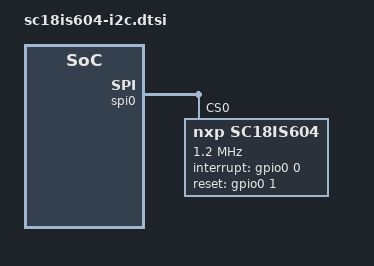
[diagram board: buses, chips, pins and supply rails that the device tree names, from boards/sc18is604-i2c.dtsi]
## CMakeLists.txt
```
# SPDX-FileCopyrightText: 2025-2026 TiaC Systems
# SPDX-License-Identifier: Apache-2.0

cmake_minimum_required(VERSION 3.28.0)
find_package(Zephyr REQUIRED HINTS $ENV{ZEPHYR_BASE})
project(test_sc18is604_i2c)

target_include_directories(app PRIVATE include)
target_sources(app
  PRIVATE
    src/main.c
)
```

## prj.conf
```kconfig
# SPDX-FileCopyrightText: 2024-2026 TiaC Systems
# SPDX-License-Identifier: Apache-2.0

CONFIG_ZTEST=y
```

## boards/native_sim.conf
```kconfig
# Copyright (c) 2024 TiaC Systems
# SPDX-License-Identifier: Apache-2.0

CONFIG_EMUL=y
CONFIG_SPI=y
CONFIG_MFD=y
CONFIG_GPIO=y
CONFIG_I2C=y
```

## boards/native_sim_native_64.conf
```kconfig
# SPDX-FileCopyrightText: 2024-2026 TiaC Systems
# SPDX-License-Identifier: Apache-2.0

# zephyr-keep-sorted-start
CONFIG_EMUL=y
CONFIG_GPIO=y
CONFIG_I2C=y
CONFIG_MFD=y
CONFIG_SPI=y
# zephyr-keep-sorted-stop
```

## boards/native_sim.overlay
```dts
/*
 * CSPDX-FileCopyrightText: opyright (c) 2025-2026 TiaC Systems
 * SPDX-License-Identifier: Apache-2.0
 */

#include "sc18is604-i2c.dtsi"
```

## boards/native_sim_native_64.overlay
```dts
/*
 * SPDX-FileCopyrightText: 2025-2026 TiaC Systems
 * SPDX-License-Identifier: Apache-2.0
 */

#include "sc18is604-i2c.dtsi"
```

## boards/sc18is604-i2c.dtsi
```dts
/*
 * SPDX-FileCopyrightText: 2025-2026 TiaC Systems
 * SPDX-License-Identifier: Apache-2.0
 */

#include <freq.h>
#include <zephyr/dt-bindings/i2c/i2c.h>

&spi0 {
	status = "okay";
	sc18is604: sc18is604@0 {
		compatible = "nxp,sc18is604";
		status = "okay";
		spi-max-frequency = <DT_FREQ_K(1200)>;
		reg = <0>;

		interrupt-gpios = <&gpio0 0 0>;
		reset-gpios = <&gpio0 1 0>;

		sc18is604_i2c: sc18is604-i2c {
			compatible = "nxp,sc18is604-i2c";
			status = "okay";

			#address-cells = <1>;
			#size-cells = <0>;

			clock-frequency = <I2C_BITRATE_STANDARD>;
		};

	};
};

&gpio0 {
	status = "okay";
	ngpios = <8>;
	rising-edge;
	falling-edge;
	high-level;
	low-level;
};
```

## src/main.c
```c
/*
 * SPDX-FileCopyrightText: 2025-2026 TiaC Systems
 * SPDX-License-Identifier: Apache-2.0
 */

#include <zephyr/ztest.h>
#include <zephyr/drivers/emul.h>
#include <zephyr/drivers/mfd/sc18is604_emul.h>

static const struct emul *get_sc18is604(void)
{
	const struct emul *sc18is604 = EMUL_DT_GET(DT_NODELABEL(sc18is604));

	zassert_true(device_is_ready(sc18is604->dev), "SC18IS604 device not ready");

	return sc18is604;
}

static const struct device *get_sc18is604_i2c(void)
{
	const struct device *sc18is604_i2c = DEVICE_DT_GET(DT_NODELABEL(sc18is604_i2c));

	zassert_true(device_is_ready(sc18is604_i2c), "SC18IS604 I2C device not ready");

	return sc18is604_i2c;
}

ZTEST_SUITE(sc18is604_i2c_emul, NULL, NULL, NULL, NULL, NULL);

ZTEST(sc18is604_i2c_emul, test_write)
{
	const struct device *i2c = get_sc18is604_i2c();
	const struct emul *mfd_emul = get_sc18is604();

	/* Set up a message */
	uint8_t buf[4] = {0x01, 0x02, 0x03, 0x04};

	/* Perform the write */
	zassert_ok(i2c_write(i2c, buf, sizeof(buf), 0x42), "Failed to write");

	/* Check the transmission */
	struct mfd_sc18is604_emul_transmission tx = {0};

	zassert_ok(mfd_sc18is604_emul_i2c_get_last_tx(mfd_emul, &tx),
		   "Failed to get last transmission");

	zassert_equal(tx.addr, 0x42, "Address mismatch");
	zassert_equal(tx.len, sizeof(buf), "Length mismatch");
	zassert_mem_equal(tx.msg, buf, sizeof(buf), "Message mismatch");
}

ZTEST(sc18is604_i2c_emul, test_read)
{
	const struct device *i2c = get_sc18is604_i2c();
	const struct emul *mfd_emul = get_sc18is604();

	/* Set up a message */
	uint8_t buf[4] = {0};
	uint8_t msg[4] = {0x01, 0x02, 0x03, 0x04};

	/* Inject the message into the emulated device (function returns the number of bytes set) */
	zassert_equal(mfd_sc18is604_emul_i2c_set_rx(mfd_emul, msg, sizeof(buf)), 4,
		      "Failed to set RX buffer");

	/* Perform the read */
	zassert_ok(i2c_read(i2c, buf, sizeof(buf), 0x42), "Failed to read");

	/* Check the read buffer */
	zassert_mem_equal(buf, msg, sizeof(buf), "Message mismatch");
}

ZTEST(sc18is604_i2c_emul, test_write_read)
{
	const struct device *i2c = get_sc18is604_i2c();
	const struct emul *mfd_emul = get_sc18is604();

	/* Set up messages */
	uint8_t write_buf[4] = {0x01, 0x02, 0x03, 0x04};
	uint8_t read_buf[4] = {0};
	uint8_t read_msg[4] = {0x05, 0x06, 0x07, 0x08};

	/* Inject the message into the emulated device (function returns the number of bytes set) */
	zassert_equal(mfd_sc18is604_emul_i2c_set_rx(mfd_emul, read_msg, sizeof(read_buf)), 4,
		      "Failed to set RX buffer");

	/* Perform the write-read */
	zassert_ok(
		i2c_write_read(i2c, 0x42, write_buf, sizeof(write_buf), read_buf, sizeof(read_buf)),
		"Failed to write-read");

	/* Check the transmission */
	struct mfd_sc18is604_emul_transmission tx = {0};

	zassert_ok(mfd_sc18is604_emul_i2c_get_last_tx(mfd_emul, &tx),
		   "Failed to get last transmission");

	zassert_equal(tx.addr, 0x42, "Address mismatch");
	zassert_equal(tx.len, sizeof(write_buf), "Length mismatch");
	zassert_mem_equal(tx.msg, write_buf, sizeof(write_buf), "TX Message mismatch");

	/* Check the read buffer */
	zassert_mem_equal(read_buf, read_msg, sizeof(read_buf), "RX Message mismatch");
}
```
